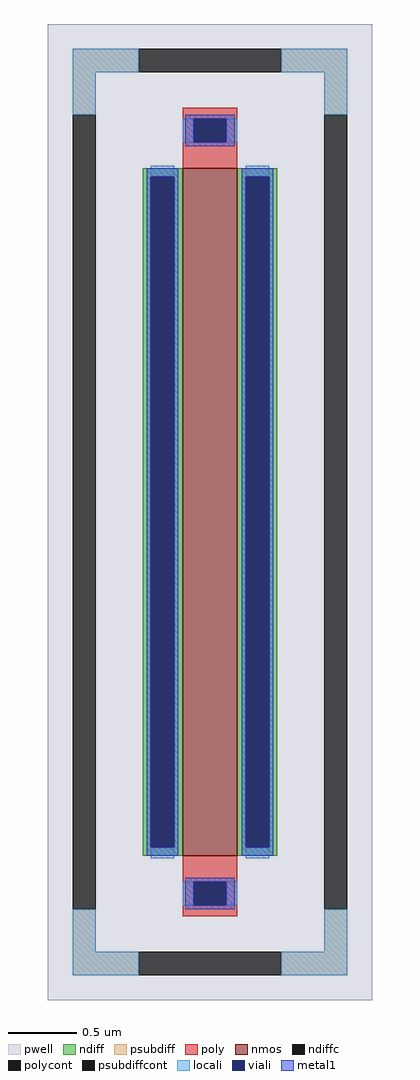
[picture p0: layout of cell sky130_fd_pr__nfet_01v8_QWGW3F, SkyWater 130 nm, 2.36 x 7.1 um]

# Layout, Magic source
magic
tech sky130A
<< pwell >>
rect -118 -355 118 355
<< nmos >>
rect -20 -250 20 250
<< ndiff >>
rect -49 244 -20 250
rect -49 -244 -43 244
rect -26 -244 -20 244
rect -49 -250 -20 -244
rect 20 244 49 250
rect 20 -244 26 244
rect 43 -244 49 244
rect 20 -250 49 -244
<< ndiffc >>
rect -43 -244 -26 244
rect 26 -244 43 244
<< psubdiff >>
rect -100 320 -52 337
rect 52 320 100 337
rect -100 289 -83 320
rect 83 289 100 320
rect -100 -320 -83 -289
rect 83 -320 100 -289
rect -100 -337 -52 -320
rect 52 -337 100 -320
<< psubdiffcont >>
rect -52 320 52 337
rect -100 -289 -83 289
rect 83 -289 100 289
rect -52 -337 52 -320
<< poly >>
rect -20 286 20 294
rect -20 269 -12 286
rect 12 269 20 286
rect -20 250 20 269
rect -20 -269 20 -250
rect -20 -286 -12 -269
rect 12 -286 20 -269
rect -20 -294 20 -286
<< polycont >>
rect -12 269 12 286
rect -12 -286 12 -269
<< locali >>
rect -100 320 -52 337
rect 52 320 100 337
rect -100 289 -83 320
rect 83 289 100 320
rect -20 269 -12 286
rect 12 269 20 286
rect -43 244 -26 252
rect -43 -252 -26 -244
rect 26 244 43 252
rect 26 -252 43 -244
rect -20 -286 -12 -269
rect 12 -286 20 -269
rect -100 -320 -83 -289
rect 83 -320 100 -289
rect -100 -337 -52 -320
rect 52 -337 100 -320
<< viali >>
rect -12 269 12 286
rect -43 -244 -26 244
rect 26 -244 43 244
rect -12 -286 12 -269
<< metal1 >>
rect -18 286 18 289
rect -18 269 -12 286
rect 12 269 18 286
rect -18 266 18 269
rect -46 244 -23 250
rect -46 -244 -43 244
rect -26 -244 -23 244
rect -46 -250 -23 -244
rect 23 244 46 250
rect 23 -244 26 244
rect 43 -244 46 244
rect 23 -250 46 -244
rect -18 -269 18 -266
rect -18 -286 -12 -269
rect 12 -286 18 -269
rect -18 -289 18 -286
<< properties >>
string FIXED_BBOX -91 -328 91 328
string gencell sky130_fd_pr__nfet_01v8
string library sky130
string parameters w 5.0 l 0.4 m 1 nf 1 diffcov 100 polycov 100 guard 1 glc 1 grc 1 gtc 1 gbc 1 tbcov 100 rlcov 100 topc 1 botc 1 poverlap 0 doverlap 1 lmin 0.15 wmin 0.42 compatible {sky130_fd_pr__nfet_01v8 sky130_fd_pr__nfet_01v8_lvt  sky130_fd_bs_flash__special_sonosfet_star  sky130_fd_pr__nfet_g5v0d10v5 sky130_fd_pr__nfet_05v0_nvt  sky130_fd_pr__nfet_03v3_nvt} full_metal 1 viasrc 100 viadrn 100 viagate 100 viagb 0 viagr 0 viagl 0 viagt 0
<< end >>
